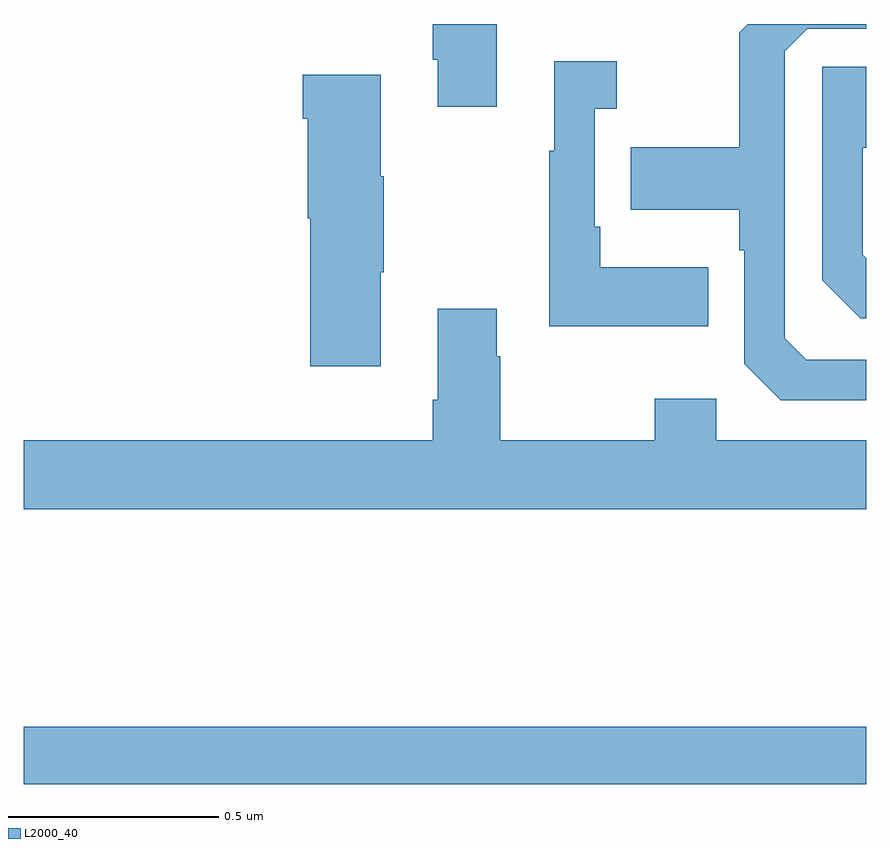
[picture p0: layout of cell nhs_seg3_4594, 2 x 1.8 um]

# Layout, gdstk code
import gdstk
lib = gdstk.Library(unit=1e-6, precision=1e-09)
def R(c, l, rs):  # rectangles x0, y0, x1, y1
    for r in rs: c.add(gdstk.rectangle(r[:2], r[2:], *l))
def P(c, l, *ps):  # polygons
    for p in ps: c.add(gdstk.Polygon(p, *l))
L2000_40 = (2000, 40)

nhs_seg3_4594 = lib.new_cell('nhs_seg3_4594')
R(nhs_seg3_4594, L2000_40, [(168,701.596,170,701.732)])
P(nhs_seg3_4594, L2000_40, [(169.123,703.4),(168.971,703.4),(168.971,703.315),(168.983,703.315),(168.983,703.203),(169.123,703.203)],
  [(170,702.603),(169.857,702.603),(169.806,702.654),(169.806,703.335),(169.86,703.389),(170,703.389),(170,703.4),(169.719,703.4),(169.698,703.379),(169.698,703.107),(169.441,703.107),(169.441,702.959),(169.698,702.959),(169.698,702.863),(169.71,702.863),(169.71,702.594),(169.797,702.507),(170,702.507)],
  [(169.625,702.823),(169.369,702.823),(169.369,702.919),(169.356,702.919),(169.356,703.199),(169.408,703.199),(169.408,703.312),(169.259,703.312),(169.259,703.099),(169.248,703.099),(169.248,702.683),(169.625,702.683)],
  [(170,702.844),(169.992,702.852),(169.992,703.106),(170,703.106),(170,703.299),(169.896,703.299),(169.896,702.792),(169.986,702.702),(170,702.702)],
  [(168.847,702.811),(168.855,702.811),(168.855,703.039),(168.847,703.039),(168.847,703.279),(168.662,703.279),(168.662,703.175),(168.674,703.175),(168.674,702.939),(168.68,702.939),(168.68,702.588),(168.847,702.588)],
  [(170,702.412),(169.644,702.412),(169.644,702.511),(169.498,702.511),(169.498,702.412),(169.131,702.412),(169.131,702.611),(169.123,702.611),(169.123,702.724),(168.983,702.724),(168.983,702.508),(168.971,702.508),(168.971,702.412),(168,702.412),(168,702.248),(170,702.248)])

lib.write_gds('nhs_seg3_4594.gds')
